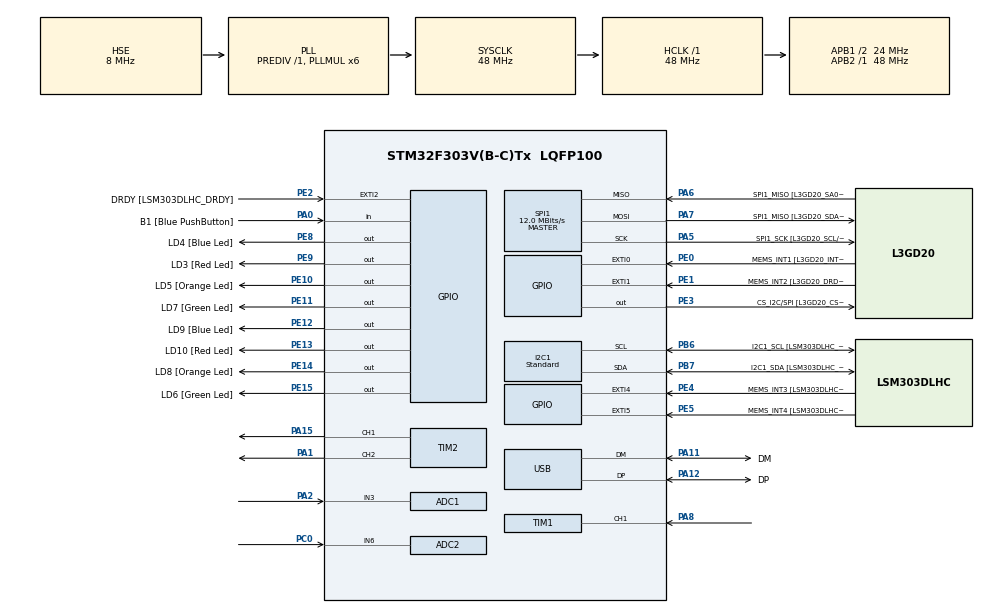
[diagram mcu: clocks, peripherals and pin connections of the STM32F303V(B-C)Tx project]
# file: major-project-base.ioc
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ADC1.Channel-1\#ChannelRegularConversion=ADC_CHANNEL_3
ADC1.NbrOfConversionFlag=1
ADC1.Offset-1\#ChannelRegularConversion=0
ADC1.OffsetNumber-1\#ChannelRegularConversion=ADC_OFFSET_NONE
ADC1.Rank-1\#ChannelRegularConversion=1
ADC1.SamplingTime-1\#ChannelRegularConversion=ADC_SAMPLETIME_1CYCLE_5
ADC1.SamplingTimeOPAMP-1\#ChannelRegularConversion=ADC_SAMPLETIME_19CYCLES_5
ADC1.master=1
ADC2.Channel-4\#ChannelRegularConversion=ADC_CHANNEL_6
ADC2.NbrOfConversionFlag=1
ADC2.Offset-4\#ChannelRegularConversion=0
ADC2.OffsetNumber-4\#ChannelRegularConversion=ADC_OFFSET_NONE
ADC2.Rank-4\#ChannelRegularConversion=1
ADC2.SamplingTime-4\#ChannelRegularConversion=ADC_SAMPLETIME_1CYCLE_5
ADC2.SamplingTimeOPAMP-4\#ChannelRegularConversion=ADC_SAMPLETIME_19CYCLES_5
I2C1.I2C_Speed_Mode=I2C_Standard
I2C1.Speed=100
I2C1.Timing-I2C=0x2000090E
Mcu.Family=STM32F3
Mcu.Name=STM32F303V(B-C)Tx
Mcu.Package=LQFP100
NVIC.PriorityGroup=NVIC_PRIORITYGROUP_0
NVIC.TIM1_CC_IRQn=true\:0\:0\:false\:false\:true\:true\:true\:true
PA0.GPIO_Label=B1 [Blue PushButton]
PA0.Signal=GPIO_Input
PA1.Signal=S_TIM2_CH2
PA11.GPIO_Label=DM
PA11.Mode=Device
PA11.Signal=USB_DM
PA12.GPIO_Label=DP
PA12.Mode=Device
PA12.Signal=USB_DP
PA13.GPIO_Label=SWDIO
PA13.Mode=Serial_Wire
PA13.Signal=SYS_JTMS-SWDIO
PA14.GPIO_Label=SWCLK
PA14.Mode=Serial_Wire
PA14.Signal=SYS_JTCK-SWCLK
PA15.Signal=S_TIM2_CH1_ETR
PA2.Mode=IN3-Single-Ended
PA2.Signal=ADC1_IN3
PA5.GPIO_Label=SPI1_SCK [L3GD20_SCL/SPC]
PA5.Mode=Full_Duplex_Master
PA5.Signal=SPI1_SCK
PA6.GPIO_Label=SPI1_MISO [L3GD20_SA0/SDO]
PA6.Mode=Full_Duplex_Master
PA6.Signal=SPI1_MISO
PA7.GPIO_Label=SPI1_MISO [L3GD20_SDA/SDI/SDO]
PA7.Mode=Full_Duplex_Master
PA7.Signal=SPI1_MOSI
PA8.Signal=S_TIM1_CH1
PB3.GPIO_Label=SWO
PB3.Signal=SYS_JTDO-TRACESWO
PB6.GPIO_Label=I2C1_SCL [LSM303DLHC_SCL]
PB6.GPIO_Pu=GPIO_PULLUP
PB6.Mode=I2C
PB6.Signal=I2C1_SCL
PB7.GPIO_Label=I2C1_SDA [LSM303DLHC_SDA]
PB7.GPIO_Pu=GPIO_PULLUP
PB7.Mode=I2C
PB7.Signal=I2C1_SDA
PC0.Signal=ADCx_IN6
PC14-OSC32_IN.GPIO_Label=OSC32_IN
PC14-OSC32_IN.Signal=RCC_OSC32_IN
PC15-OSC32_OUT.GPIO_Label=OSC32_OUT
PC15-OSC32_OUT.Signal=RCC_OSC32_OUT
PE0.GPIO_Label=MEMS_INT1 [L3GD20_INT1]
PE0.GPIO_ModeDefaultEXTI=GPIO_MODE_EVT_RISING
PE0.Signal=GPXTI0
PE1.GPIO_Label=MEMS_INT2 [L3GD20_DRDY/INT2]
PE1.GPIO_ModeDefaultEXTI=GPIO_MODE_EVT_RISING
PE1.Signal=GPXTI1
PE10.GPIO_Label=LD5 [Orange Led]
PE10.Signal=GPIO_Output
PE11.GPIO_Label=LD7 [Green Led]
PE11.Signal=GPIO_Output
PE12.GPIO_Label=LD9 [Blue Led]
PE12.Signal=GPIO_Output
PE13.GPIO_Label=LD10 [Red Led]
PE13.Signal=GPIO_Output
PE14.GPIO_Label=LD8 [Orange Led]
PE14.Signal=GPIO_Output
PE15.GPIO_Label=LD6 [Green Led]
PE15.Signal=GPIO_Output
PE2.GPIO_Label=DRDY [LSM303DLHC_DRDY]
PE2.GPIO_ModeDefaultEXTI=GPIO_MODE_EVT_RISING
PE2.Signal=GPXTI2
PE3.GPIO_Label=CS_I2C/SPI [L3GD20_CS_I2C/SPI]
PE3.Signal=GPIO_Output
PE4.GPIO_Label=MEMS_INT3 [LSM303DLHC_INT1]
PE4.GPIO_ModeDefaultEXTI=GPIO_MODE_EVT_RISING
PE4.Signal=GPXTI4
PE5.GPIO_Label=MEMS_INT4 [LSM303DLHC_INT2]
PE5.GPIO_ModeDefaultEXTI=GPIO_MODE_EVT_RISING
PE5.Signal=GPXTI5
PE8.GPIO_Label=LD4 [Blue Led]
PE8.Signal=GPIO_Output
PE9.GPIO_Label=LD3 [Red Led]
PE9.Signal=GPIO_Output
PF0-OSC_IN.GPIO_Label=OSC_IN
PF0-OSC_IN.Mode=HSE-External-Clock-Source
PF0-OSC_IN.Signal=RCC_OSC_IN
PF1-OSC_OUT.GPIO_Label=OSC_OUT
PF1-OSC_OUT.Signal=RCC_OSC_OUT
ProjectManager.HeapSize=0x200
ProjectManager.StackSize=0x400
ProjectManager.TargetToolchain=STM32CubeIDE
RCC.AHBFreq_Value=48000000
RCC.APB1CLKDivider=RCC_HCLK_DIV2
RCC.APB1Freq_Value=24000000
RCC.APB1TimFreq_Value=48000000
RCC.APB2Freq_Value=48000000
RCC.APB2TimFreq_Value=48000000
RCC.CortexFreq_Value=48000000
RCC.HCLKFreq_Value=48000000
RCC.HSE_VALUE=8000000
RCC.HSI_VALUE=8000000
RCC.LSE_VALUE=32768
RCC.PLLMUL=RCC_PLL_MUL6
RCC.SYSCLKFreq_VALUE=48000000
RCC.SYSCLKSourceVirtual=RCC_SYSCLKSOURCE_PLLCLK
RCC.USBFreq_Value=48000000
SH.ADCx_IN6.0=ADC2_IN6,IN6-Single-Ended
SH.S_TIM1_CH1.0=TIM1_CH1,Input_Capture1_from_TI1
SH.S_TIM2_CH1_ETR.0=TIM2_CH1,PWM Generation1 CH1
SH.S_TIM2_CH2.0=TIM2_CH2,PWM Generation2 CH2
SPI1.BaudRatePrescaler=SPI_BAUDRATEPRESCALER_4
SPI1.BaudRatePrescaler-Full_Duplex_Master=SPI_BAUDRATEPRESCALER_2
SPI1.CalculateBaudRate=12.0 MBits/s
SPI1.CalculateBaudRate-Full_Duplex_Master=24.0 MBits/s
SPI1.Direction=SPI_DIRECTION_2LINES
SPI1.Mode=SPI_MODE_MASTER
SPI1.Mode-Full_Duplex_Master=SPI_MODE_MASTER
SPI1.VirtualType=VM_MASTER
TIM1.Channel-Input_Capture1_from_TI1=TIM_CHANNEL_1
TIM1.ICPolarity_CH1=TIM_INPUTCHANNELPOLARITY_BOTHEDGE
TIM1.Prescaler=47
TIM2.Channel-PWM\ Generation1\ CH1=TIM_CHANNEL_1
TIM2.Channel-PWM\ Generation2\ CH2=TIM_CHANNEL_2
VP_TIM1_VS_ClockSourceINT.Mode=Internal
board=STM32F3DISCOVERY

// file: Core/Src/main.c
/* USER CODE BEGIN Header */
/**
 ******************************************************************************
 * @file           : main.c
 * @brief          : Main program body
 ******************************************************************************
 * @attention
 *
 * Copyright (c) 2023 STMicroelectronics.
 * All rights reserved.
 *
 * This software is licensed under terms that can be found in the LICENSE file
 * in the root directory of this software component.
 * If no LICENSE file comes with this software, it is provided AS-IS.
 *
 ******************************************************************************
 */
/* USER CODE END Header */
#include "main.h"

/* USER CODE BEGIN Includes */

#include "ptu_definitions.h"
#include "ptu_i2c.h"
#include "joystick_map.h"
#include "initialisation.h"
#include "timer.h"
#include "serial.h"
#include "stm32f303xc.h"
#include "math.h"

#include <stdint.h>
#include <stdbool.h>
#include <string.h>

/* USER CODE END Includes */

ADC_HandleTypeDef hadc1;
ADC_HandleTypeDef hadc2;

I2C_HandleTypeDef hi2c1;

SPI_HandleTypeDef hspi1;

TIM_HandleTypeDef htim1;
TIM_HandleTypeDef htim2;

PCD_HandleTypeDef hpcd_USB_FS;

void SystemClock_Config(void);
static void MX_GPIO_Init(void);
static void MX_I2C1_Init(void);
static void MX_SPI1_Init(void);
static void MX_USB_PCD_Init(void);
static void MX_TIM2_Init(void);
static void MX_TIM1_Init(void);
static void MX_ADC1_Init(void);
static void MX_ADC2_Init(void);

/* USER CODE BEGIN 0 */

#define USART_ICR_RXNECF_Pos        5
#define USART_ICR_RXNECF_Msk        (0x01U << USART_ICR_RXNECF_Pos)
#define BUFFER 256

int lidar_values[6] = {0, 0, 0, 0, 0, 0};
int lidar_global = 0;
int timer_count = 0;
int hit_waypoint = 0;

int WAYPOINT_DISTANCE = 300;

int TARGET_ONE_LOWER_X = 500;
int TARGET_ONE_UPPER_X = 800;
int TARGET_ONE_LOWER_Y = 1600;
int TARGET_ONE_UPPER_Y = 1800;

int TARGET_TWO_LOWER_X = 1500;
int TARGET_TWO_UPPER_X = 1700;
int TARGET_TWO_LOWER_Y = 1550;
int TARGET_TWO_UPPER_Y = 1750;

int TARGET_THREE_LOWER_X = 0;
int TARGET_THREE_UPPER_X = 250;
int TARGET_THREE_LOWER_Y = 2900;
int TARGET_THREE_UPPER_Y = 3100;

int TARGET_FOUR_LOWER_X = 1550;
int TARGET_FOUR_UPPER_X = 1750;
int TARGET_FOUR_LOWER_Y = 950;
int TARGET_FOUR_UPPER_Y = 1250;

int TARGET_FIVE_LOWER_X = 2300;
int TARGET_FIVE_UPPER_X = 2500;
int TARGET_FIVE_LOWER_Y = 1650;
int TARGET_FIVE_UPPER_Y = 1850;

int TARGET_SIX_LOWER_X = 1000;
int TARGET_SIX_UPPER_X = 1200;
int TARGET_SIX_LOWER_Y = 1300;
int TARGET_SIX_UPPER_Y = 1500;

int SERVO_CLOCK_PERIOD = 20000;
int SERVO_MAX_UPPER = 3000;
int SERVO_MAX_LOWER = 2000;
int SERVO_MAX_MIDDLE = 2055;

int target_count = 0;
int x_position = 1500;
int y_position = 1500;

void TIM3_IRQHandler(void)
{
	// UIF is from an overflow type event
	if ((TIM3->SR & TIM_SR_UIF) != 0){
		TIM3->SR &= ~TIM_SR_UIF;
	}

	// CC1IF is from a successful output compare
	if ((TIM3->SR & TIM_SR_CC1IF) != 0){
		TIM3->SR &= ~TIM_SR_CC1IF;
	}
	timer_count++;

	int index = timer_count % 6;

	lidar_values[index] = lidar_global;
}

void sendString(const char *str)
{
    while (*str)
    {
        // Wait until transmit data register is empty
        while (!(USART1->ISR & USART_ISR_TXE_Msk));
        // Send a single character
        USART1->TDR = *str++;
    }
}

typedef union {
	uint8_t all_leds;
	struct {
		uint8_t led_pair_1 : 2;
		uint8_t led_pair_2 : 2;
		uint8_t led_set_of_4 : 4;
	} led_groups;
} LedRegister;

uint16_t last_capture = 0;
uint16_t diff = 0;

uint16_t rise_time = 0;
uint16_t last_period = 0;

void HAL_TIM_IC_CaptureCallback(TIM_HandleTypeDef *htim)
{
	uint8_t buffer[32];
	if (htim->Instance == TIM1 && htim->Channel == HAL_TIM_ACTIVE_CHANNEL_1)
	{
		uint16_t IC_Val1 = HAL_TIM_ReadCapturedValue(htim, TIM_CHANNEL_1); // read the first value

		if (HAL_GPIO_ReadPin(GPIOA, GPIO_PIN_8) == 1)
			rise_time = IC_Val1;
		else
			last_period = IC_Val1 - rise_time;

		diff = IC_Val1 - last_capture;
		last_capture = IC_Val1;
	}
}

/* USER CODE END 0 */

int main(void)
{
  /* USER CODE BEGIN 1 */

	uint8_t string_to_send[256];

	enable_clocks();
	initialise_board();
	enableUSART1();

	LedRegister *led_register = ((uint8_t*)&(GPIOE->ODR)) + 1;

	SerialInitialise(BAUD_115200, &USART1_PORT, 0x00);

	HAL_StatusTypeDef return_value = 0x00;

  /* USER CODE END 1 */

  /* MCU Configuration--------------------------------------------------------*/

  /* Reset of all peripherals, Initializes the Flash interface and the Systick. */
  HAL_Init();

  /* Configure the system clock */
  SystemClock_Config();

  /* Initialize all configured peripherals */
  MX_GPIO_Init();
  MX_I2C1_Init();
  MX_SPI1_Init();
  MX_USB_PCD_Init();
  MX_TIM2_Init();
  MX_TIM1_Init();
  MX_ADC1_Init();
  MX_ADC2_Init();
  /* USER CODE BEGIN 2 */

	HAL_TIM_PWM_Start(&htim2, TIM_CHANNEL_1);
	HAL_TIM_PWM_Start(&htim2, TIM_CHANNEL_2);
	HAL_TIM_IC_Start_IT(&htim1, TIM_CHANNEL_1);

	TIM2->ARR = SERVO_CLOCK_PERIOD; // 20000 = 20ms, which is the desired clock period for servos
	TIM2->CR1 |= TIM_CR1_ARPE; // this makes the timing not change until the next pulse is finished

	initialise_ptu_i2c(&hi2c1);

  /* USER CODE END 2 */

  /* Infinite loop */
  /* USER CODE BEGIN WHILE */

	// Setup timer with interrupts for LIDAR moving average
	__disable_irq();
	initialise_timer();
	__enable_irq();

	// Reset lidar board
	uint8_t reset_value = 0x00;
	return_value = HAL_I2C_Mem_Write(&hi2c1, LIDAR_WR, 0x00, 1, &reset_value, 1, 10);

	// Delay for initialisation of the lidar
	HAL_Delay(100);

	sprintf(string_to_send, "\r\n\n\n\n\nYou are a student enrolled at USYD in the best engineering stream. Six core subjects, six LIDAR waypoints, six numbers to complete the pattern.\r\n\n");
	SerialOutputString(string_to_send, &USART1_PORT);

	while (1)
	{
		// Read Joystick Data
		HAL_ADC_Start(&hadc1); 						// start the adc
		HAL_ADC_PollForConversion(&hadc1, 100); 	// poll for conversion
		int adc_val_x = HAL_ADC_GetValue(&hadc1);   // get the adc value
		HAL_ADC_Stop(&hadc1); 						// stop adc

		HAL_ADC_Start(&hadc2); 						// start the adc
		HAL_ADC_PollForConversion(&hadc2, 100); 	// poll for conversion
		int adc_val_y = HAL_ADC_GetValue(&hadc2);   // get the adc value
		HAL_ADC_Stop(&hadc2); 						// stop adc

		HAL_Delay(20); 								// wait for 20ms

        // Remove noise with no input
		if (adc_val_x <= SERVO_MAX_UPPER && adc_val_x >= SERVO_MAX_LOWER) {
			adc_val_x = SERVO_MAX_MIDDLE;
		}

		if (adc_val_y <= SERVO_MAX_UPPER && adc_val_y >= SERVO_MAX_LOWER) {
			adc_val_y = SERVO_MAX_MIDDLE;
		}

		// Update positions of the servos from the joystick
		x_position = updateValues(adc_val_x, x_position);
		y_position = updateValues(adc_val_y, y_position);

		TIM2->CCR1 = y_position;
		TIM2->CCR2 = x_position;

		uint8_t lidar_value = 0x03;
		return_value = HAL_I2C_Mem_Write(&hi2c1, LIDAR_WR, 0x00, 1, &lidar_value, 1, 100);

		lidar_value = 0xff;

		uint8_t lidar_MSBa = 0x00;
		uint8_t lidar_LSBa = 0x00;

		volatile uint16_t lidar_distance = 0xff;

		uint16_t timeout;

		while ((lidar_value & 0x01) != 0x00) {
			return_value = HAL_I2C_Mem_Read(&hi2c1, LIDAR_RD, 0x01, 1, &lidar_value, 1, 100);
			return_value = HAL_I2C_Mem_Read(&hi2c1, LIDAR_RD, 0x0f, 1, &lidar_MSBa, 1, 100);
			return_value = HAL_I2C_Mem_Read(&hi2c1, LIDAR_RD, 0x10, 1, &lidar_LSBa, 1, 100);

			lidar_distance = ((lidar_MSBa << 8) | lidar_LSBa);
			timeout += 1;
			if (timeout > 0xff)
				break;
		}

		if (last_period > 4000)
			last_period = 5000;
		if (lidar_distance > 4000)
			lidar_distance = 5500;

		lidar_global = lidar_distance * 10;

		// Determine LIDAR distance with moving average
		int lidar_average = (lidar_values[0] + lidar_values[1] + lidar_values[2] + lidar_values[3] + lidar_values[4] + lidar_values[5])/6;

		if (lidar_global > WAYPOINT_DISTANCE) {
			led_register->led_groups.led_pair_1 = 0b00;
			led_register->led_groups.led_pair_2 = 0b00;
			led_register->led_groups.led_set_of_4 = 0b1000;
		}

		if (lidar_global <= WAYPOINT_DISTANCE && lidar_global >= 0) {
			hit_waypoint = 1;
			led_register->led_groups.led_pair_1 = 0b11;
			led_register->led_groups.led_pair_2 = 0b11;
			led_register->led_groups.led_set_of_4 = 0b0111;
		}

		// Way Point targeting and game sequence!

		if (x_position > TARGET_ONE_LOWER_X && x_position < TARGET_ONE_UPPER_X
				&& y_position > TARGET_ONE_LOWER_Y && y_position < TARGET_ONE_UPPER_Y
				&& target_count == 0 ){
			if (hit_waypoint == 1) {
				sprintf(string_to_send, "TARGET #1 ACQUIRED! Pattern #1: 1109\r\n");
				target_count = 1;
				SerialOutputString(string_to_send, &USART1_PORT);
			}
		}

		else if (x_position > TARGET_TWO_LOWER_X && x_position < TARGET_TWO_UPPER_X
				&& y_position > TARGET_TWO_LOWER_Y && y_position < TARGET_TWO_UPPER_Y
				&& target_count == 1 ){
			if (hit_waypoint == 1) {
				sprintf(string_to_send, "TARGET #2 ACQUIRED! Pattern #2: 0109\r\n");
				target_count = 2;
				SerialOutputString(string_to_send, &USART1_PORT);
			}
		}

		else if (x_position > TARGET_THREE_LOWER_X && x_position < TARGET_THREE_UPPER_X
				&& y_position > TARGET_THREE_LOWER_Y && y_position < TARGET_THREE_UPPER_Y
				&& target_count == 2 ){
			if (hit_waypoint == 1) {
				sprintf(string_to_send, "TARGET #3 ACQUIRED! Pattern #3: 6009\r\n");
				target_count = 3;
				SerialOutputString(string_to_send, &USART1_PORT);
			}
		}

		else if (x_position > TARGET_FOUR_LOWER_X && x_position < TARGET_FOUR_UPPER_X
				&& y_position > TARGET_FOUR_LOWER_Y && y_position < TARGET_FOUR_UPPER_Y
				&& target_count == 3 ){
			if (hit_waypoint == 1) {
				sprintf(string_to_send, "TARGET #4 ACQUIRED! Pattern #4: 8006\r\n");
				target_count = 4;
				SerialOutputString(string_to_send, &USART1_PORT);
			}
		}

		else if (x_position > TARGET_FIVE_LOWER_X && x_position < TARGET_FIVE_UPPER_X
				&& y_position > TARGET_FIVE_LOWER_Y && y_position < TARGET_FIVE_UPPER_Y
				&& target_count == 4 ){
			if (hit_waypoint == 1) {
				sprintf(string_to_send, "TARGET #5 ACQUIRED! Pattern #5: ????\r\n");
				target_count = 5;
				SerialOutputString(string_to_send, &USART1_PORT);
			}
		}

		else if (x_position > TARGET_SIX_LOWER_X && x_position < TARGET_SIX_UPPER_X
				&& y_position > TARGET_SIX_LOWER_Y && y_position < TARGET_SIX_UPPER_Y
				&& target_count == 5 ){
			if (hit_waypoint == 1) {
				sprintf(string_to_send, "TARGET #6 ACQUIRED! Pattern #6: 6006\r\n\n");
				SerialOutputString(string_to_send, &USART1_PORT);
				sprintf(string_to_send, "The pattern to unlock Stewart's magic orange box is:\r\n\n");
				SerialOutputString(string_to_send, &USART1_PORT);
				sprintf(string_to_send, "1109, 0109, 6009, 8009, _______, 9009\r\n\n");
				SerialOutputString(string_to_send, &USART1_PORT);
				sprintf(string_to_send, "What is the missing number?\r\n\n");
				SerialOutputString(string_to_send, &USART1_PORT);
				target_count = 6;
			}
		}

//		else {
//			// Do nothing
//		}

		else {
			sprintf(string_to_send, "Timer: %hu, Lidar I2C: %hu,  x-pos: %hu, y-pos: %hu, average: %hu, counter: %hu\r\n", timer_count, lidar_global, x_position, y_position, lidar_average, target_count);
//			sprintf(string_to_send, "%hu, %hu, %hu, %hu, %hu, %hu, %hu\r\n", lidar_values[0], lidar_values[1], lidar_values[2], lidar_values[3], lidar_values[4], lidar_values[5], lidar_average);
			SerialOutputString(string_to_send, &USART1_PORT);
			// Do nothing
		}

    /* USER CODE END WHILE */

	}
}

void SystemClock_Config(void)
{
  RCC_OscInitTypeDef RCC_OscInitStruct = {0};
  RCC_ClkInitTypeDef RCC_ClkInitStruct = {0};
  RCC_PeriphCLKInitTypeDef PeriphClkInit = {0};

  /** Initializes the RCC Oscillators according to the specified parameters
  * in the RCC_OscInitTypeDef structure.
  */
  RCC_OscInitStruct.OscillatorType = RCC_OSCILLATORTYPE_HSI|RCC_OSCILLATORTYPE_HSE;
  RCC_OscInitStruct.HSEState = RCC_HSE_BYPASS;
  RCC_OscInitStruct.HSEPredivValue = RCC_HSE_PREDIV_DIV1;
  RCC_OscInitStruct.HSIState = RCC_HSI_ON;
  RCC_OscInitStruct.HSICalibrationValue = RCC_HSICALIBRATION_DEFAULT;
  RCC_OscInitStruct.PLL.PLLState = RCC_PLL_ON;
  RCC_OscInitStruct.PLL.PLLSource = RCC_PLLSOURCE_HSE;
  RCC_OscInitStruct.PLL.PLLMUL = RCC_PLL_MUL6;
  if (HAL_RCC_OscConfig(&RCC_OscInitStruct) != HAL_OK)
  {
    Error_Handler();
  }

  /** Initializes the CPU, AHB and APB buses clocks
  */
  RCC_ClkInitStruct.ClockType = RCC_CLOCKTYPE_HCLK|RCC_CLOCKTYPE_SYSCLK
                              |RCC_CLOCKTYPE_PCLK1|RCC_CLOCKTYPE_PCLK2;
  RCC_ClkInitStruct.SYSCLKSource = RCC_SYSCLKSOURCE_PLLCLK;
  RCC_ClkInitStruct.AHBCLKDivider = RCC_SYSCLK_DIV1;
  RCC_ClkInitStruct.APB1CLKDivider = RCC_HCLK_DIV2;
  RCC_ClkInitStruct.APB2CLKDivider = RCC_HCLK_DIV1;

  if (HAL_RCC_ClockConfig(&RCC_ClkInitStruct, FLASH_LATENCY_1) != HAL_OK)
  {
    Error_Handler();
  }
  PeriphClkInit.PeriphClockSelection = RCC_PERIPHCLK_USB|RCC_PERIPHCLK_I2C1
                              |RCC_PERIPHCLK_TIM1|RCC_PERIPHCLK_ADC12;
  PeriphClkInit.Adc12ClockSelection = RCC_ADC12PLLCLK_DIV1;
  PeriphClkInit.I2c1ClockSelection = RCC_I2C1CLKSOURCE_HSI;
  PeriphClkInit.USBClockSelection = RCC_USBCLKSOURCE_PLL;
  PeriphClkInit.Tim1ClockSelection = RCC_TIM1CLK_HCLK;
  if (HAL_RCCEx_PeriphCLKConfig(&PeriphClkInit) != HAL_OK)
  {
    Error_Handler();
  }
}

static void MX_ADC1_Init(void)
{

  ADC_MultiModeTypeDef multimode = {0};
  ADC_ChannelConfTypeDef sConfig = {0};

  /** Common config
  */
  hadc1.Instance = ADC1;
  hadc1.Init.ClockPrescaler = ADC_CLOCK_ASYNC_DIV1;
  hadc1.Init.Resolution = ADC_RESOLUTION_12B;
  hadc1.Init.ScanConvMode = ADC_SCAN_DISABLE;
  hadc1.Init.ContinuousConvMode = DISABLE;
  hadc1.Init.DiscontinuousConvMode = DISABLE;
  hadc1.Init.ExternalTrigConvEdge = ADC_EXTERNALTRIGCONVEDGE_NONE;
  hadc1.Init.ExternalTrigConv = ADC_SOFTWARE_START;
  hadc1.Init.DataAlign = ADC_DATAALIGN_RIGHT;
  hadc1.Init.NbrOfConversion = 1;
  hadc1.Init.DMAContinuousRequests = DISABLE;
  hadc1.Init.EOCSelection = ADC_EOC_SINGLE_CONV;
  hadc1.Init.LowPowerAutoWait = DISABLE;
  hadc1.Init.Overrun = ADC_OVR_DATA_OVERWRITTEN;
  if (HAL_ADC_Init(&hadc1) != HAL_OK)
  {
    Error_Handler();
  }

  /** Configure the ADC multi-mode
  */
  multimode.Mode = ADC_MODE_INDEPENDENT;
  if (HAL_ADCEx_MultiModeConfigChannel(&hadc1, &multimode) != HAL_OK)
  {
    Error_Handler();
  }

  /** Configure Regular Channel
  */
  sConfig.Channel = ADC_CHANNEL_3;
  sConfig.Rank = ADC_REGULAR_RANK_1;
  sConfig.SingleDiff = ADC_SINGLE_ENDED;
  sConfig.SamplingTime = ADC_SAMPLETIME_1CYCLE_5;
  sConfig.OffsetNumber = ADC_OFFSET_NONE;
  sConfig.Offset = 0;
  if (HAL_ADC_ConfigChannel(&hadc1, &sConfig) != HAL_OK)
  {
    Error_Handler();
  }

}

static void MX_ADC2_Init(void)
{

  ADC_ChannelConfTypeDef sConfig = {0};

  /** Common config
  */
  hadc2.Instance = ADC2;
  hadc2.Init.ClockPrescaler = ADC_CLOCK_ASYNC_DIV1;
  hadc2.Init.Resolution = ADC_RESOLUTION_12B;
  hadc2.Init.ScanConvMode = ADC_SCAN_DISABLE;
  hadc2.Init.ContinuousConvMode = DISABLE;
  hadc2.Init.DiscontinuousConvMode = DISABLE;
  hadc2.Init.ExternalTrigConvEdge = ADC_EXTERNALTRIGCONVEDGE_NONE;
  hadc2.Init.ExternalTrigConv = ADC_SOFTWARE_START;
  hadc2.Init.DataAlign = ADC_DATAALIGN_RIGHT;
  hadc2.Init.NbrOfConversion = 1;
  hadc2.Init.DMAContinuousRequests = DISABLE;
  hadc2.Init.EOCSelection = ADC_EOC_SINGLE_CONV;
  hadc2.Init.LowPowerAutoWait = DISABLE;
  hadc2.Init.Overrun = ADC_OVR_DATA_OVERWRITTEN;
  if (HAL_ADC_Init(&hadc2) != HAL_OK)
  {
    Error_Handler();
  }

  /** Configure Regular Channel
  */
  sConfig.Channel = ADC_CHANNEL_6;
  sConfig.Rank = ADC_REGULAR_RANK_1;
  sConfig.SingleDiff = ADC_SINGLE_ENDED;
  sConfig.SamplingTime = ADC_SAMPLETIME_1CYCLE_5;
  sConfig.OffsetNumber = ADC_OFFSET_NONE;
  sConfig.Offset = 0;
  if (HAL_ADC_ConfigChannel(&hadc2, &sConfig) != HAL_OK)
  {
    Error_Handler();
  }

}

static void MX_I2C1_Init(void)
{

  hi2c1.Instance = I2C1;
  hi2c1.Init.Timing = 0x2000090E;
  hi2c1.Init.OwnAddress1 = 0;
  hi2c1.Init.AddressingMode = I2C_ADDRESSINGMODE_7BIT;
  hi2c1.Init.DualAddressMode = I2C_DUALADDRESS_DISABLE;
  hi2c1.Init.OwnAddress2 = 0;
  hi2c1.Init.OwnAddress2Masks = I2C_OA2_NOMASK;
  hi2c1.Init.GeneralCallMode = I2C_GENERALCALL_DISABLE;
  hi2c1.Init.NoStretchMode = I2C_NOSTRETCH_DISABLE;
  if (HAL_I2C_Init(&hi2c1) != HAL_OK)
  {
    Error_Handler();
  }

  /** Configure Analogue filter
  */
  if (HAL_I2CEx_ConfigAnalogFilter(&hi2c1, I2C_ANALOGFILTER_ENABLE) != HAL_OK)
  {
    Error_Handler();
  }

  /** Configure Digital filter
  */
  if (HAL_I2CEx_ConfigDigitalFilter(&hi2c1, 0) != HAL_OK)
  {
    Error_Handler();
  }

}

static void MX_SPI1_Init(void)
{

  /* SPI1 parameter configuration*/
  hspi1.Instance = SPI1;
  hspi1.Init.Mode = SPI_MODE_MASTER;
  hspi1.Init.Direction = SPI_DIRECTION_2LINES;
  hspi1.Init.DataSize = SPI_DATASIZE_4BIT;
  hspi1.Init.CLKPolarity = SPI_POLARITY_LOW;
  hspi1.Init.CLKPhase = SPI_PHASE_1EDGE;
  hspi1.Init.NSS = SPI_NSS_SOFT;
  hspi1.Init.BaudRatePrescaler = SPI_BAUDRATEPRESCALER_4;
  hspi1.Init.FirstBit = SPI_FIRSTBIT_MSB;
  hspi1.Init.TIMode = SPI_TIMODE_DISABLE;
  hspi1.Init.CRCCalculation = SPI_CRCCALCULATION_DISABLE;
  hspi1.Init.CRCPolynomial = 7;
  hspi1.Init.CRCLength = SPI_CRC_LENGTH_DATASIZE;
  hspi1.Init.NSSPMode = SPI_NSS_PULSE_ENABLE;
  if (HAL_SPI_Init(&hspi1) != HAL_OK)
  {
    Error_Handler();
  }

}

static void MX_TIM1_Init(void)
{

  TIM_ClockConfigTypeDef sClockSourceConfig = {0};
  TIM_MasterConfigTypeDef sMasterConfig = {0};
  TIM_IC_InitTypeDef sConfigIC = {0};

  htim1.Instance = TIM1;
  htim1.Init.Prescaler = 47;
  htim1.Init.CounterMode = TIM_COUNTERMODE_UP;
  htim1.Init.Period = 65535;
  htim1.Init.ClockDivision = TIM_CLOCKDIVISION_DIV1;
  htim1.Init.RepetitionCounter = 0;
  htim1.Init.AutoReloadPreload = TIM_AUTORELOAD_PRELOAD_DISABLE;
  if (HAL_TIM_Base_Init(&htim1) != HAL_OK)
  {
    Error_Handler();
  }
  sClockSourceConfig.ClockSource = TIM_CLOCKSOURCE_INTERNAL;
  if (HAL_TIM_ConfigClockSource(&htim1, &sClockSourceConfig) != HAL_OK)
  {
    Error_Handler();
  }
  if (HAL_TIM_IC_Init(&htim1) != HAL_OK)
  {
    Error_Handler();
  }
  sMasterConfig.MasterOutputTrigger = TIM_TRGO_RESET;
  sMasterConfig.MasterOutputTrigger2 = TIM_TRGO2_RESET;
  sMasterConfig.MasterSlaveMode = TIM_MASTERSLAVEMODE_DISABLE;
  if (HAL_TIMEx_MasterConfigSynchronization(&htim1, &sMasterConfig) != HAL_OK)
  {
    Error_Handler();
  }
  sConfigIC.ICPolarity = TIM_INPUTCHANNELPOLARITY_BOTHEDGE;
  sConfigIC.ICSelection = TIM_ICSELECTION_DIRECTTI;
  sConfigIC.ICPrescaler = TIM_ICPSC_DIV1;
  sConfigIC.ICFilter = 0;
  if (HAL_TIM_IC_ConfigChannel(&htim1, &sConfigIC, TIM_CHANNEL_1) != HAL_OK)
  {
    Error_Handler();
  }

}

static void MX_TIM2_Init(void)
{

  TIM_MasterConfigTypeDef sMasterConfig = {0};
  TIM_OC_InitTypeDef sConfigOC = {0};

  htim2.Instance = TIM2;
  htim2.Init.Prescaler = 47;
  htim2.Init.CounterMode = TIM_COUNTERMODE_UP;
  htim2.Init.Period = 20000;
  htim2.Init.ClockDivision = TIM_CLOCKDIVISION_DIV1;
  htim2.Init.AutoReloadPreload = TIM_AUTORELOAD_PRELOAD_ENABLE;
  if (HAL_TIM_PWM_Init(&htim2) != HAL_OK)
  {
    Error_Handler();
  }
  sMasterConfig.MasterOutputTrigger = TIM_TRGO_RESET;
  sMasterConfig.MasterSlaveMode = TIM_MASTERSLAVEMODE_DISABLE;
  if (HAL_TIMEx_MasterConfigSynchronization(&htim2, &sMasterConfig) != HAL_OK)
  {
    Error_Handler();
  }
  sConfigOC.OCMode = TIM_OCMODE_PWM1;
  sConfigOC.Pulse = 2000;
  sConfigOC.OCPolarity = TIM_OCPOLARITY_HIGH;
  sConfigOC.OCFastMode = TIM_OCFAST_DISABLE;
  if (HAL_TIM_PWM_ConfigChannel(&htim2, &sConfigOC, TIM_CHANNEL_1) != HAL_OK)
  {
    Error_Handler();
  }
  if (HAL_TIM_PWM_ConfigChannel(&htim2, &sConfigOC, TIM_CHANNEL_2) != HAL_OK)
  {
    Error_Handler();
  }
  HAL_TIM_MspPostInit(&htim2);

}

static void MX_USB_PCD_Init(void)
{

  hpcd_USB_FS.Instance = USB;
  hpcd_USB_FS.Init.dev_endpoints = 8;
  hpcd_USB_FS.Init.speed = PCD_SPEED_FULL;
  hpcd_USB_FS.Init.phy_itface = PCD_PHY_EMBEDDED;
  hpcd_USB_FS.Init.low_power_enable = DISABLE;
  hpcd_USB_FS.Init.battery_charging_enable = DISABLE;
  if (HAL_PCD_Init(&hpcd_USB_FS) != HAL_OK)
  {
    Error_Handler();
  }

}

static void MX_GPIO_Init(void)
{
  GPIO_InitTypeDef GPIO_InitStruct = {0};

  /* GPIO Ports Clock Enable */
  __HAL_RCC_GPIOE_CLK_ENABLE();
  __HAL_RCC_GPIOC_CLK_ENABLE();
  __HAL_RCC_GPIOF_CLK_ENABLE();
  __HAL_RCC_GPIOA_CLK_ENABLE();
  __HAL_RCC_GPIOB_CLK_ENABLE();

  /*Configure GPIO pin Output Level */
  HAL_GPIO_WritePin(GPIOE, CS_I2C_SPI_Pin|LD4_Pin|LD3_Pin|LD5_Pin
                          |LD7_Pin|LD9_Pin|LD10_Pin|LD8_Pin
                          |LD6_Pin, GPIO_PIN_RESET);

  /*Configure GPIO pins : DRDY_Pin MEMS_INT3_Pin MEMS_INT4_Pin MEMS_INT1_Pin
                           MEMS_INT2_Pin */
  GPIO_InitStruct.Pin = DRDY_Pin|MEMS_INT3_Pin|MEMS_INT4_Pin|MEMS_INT1_Pin
                          |MEMS_INT2_Pin;
  GPIO_InitStruct.Mode = GPIO_MODE_EVT_RISING;
  GPIO_InitStruct.Pull = GPIO_NOPULL;
  HAL_GPIO_Init(GPIOE, &GPIO_InitStruct);

  /*Configure GPIO pins : CS_I2C_SPI_Pin LD4_Pin LD3_Pin LD5_Pin
                           LD7_Pin LD9_Pin LD10_Pin LD8_Pin
                           LD6_Pin */
  GPIO_InitStruct.Pin = CS_I2C_SPI_Pin|LD4_Pin|LD3_Pin|LD5_Pin
                          |LD7_Pin|LD9_Pin|LD10_Pin|LD8_Pin
                          |LD6_Pin;
  GPIO_InitStruct.Mode = GPIO_MODE_OUTPUT_PP;
  GPIO_InitStruct.Pull = GPIO_NOPULL;
  GPIO_InitStruct.Speed = GPIO_SPEED_FREQ_LOW;
  HAL_GPIO_Init(GPIOE, &GPIO_InitStruct);

  /*Configure GPIO pin : B1_Pin */
  GPIO_InitStruct.Pin = B1_Pin;
  GPIO_InitStruct.Mode = GPIO_MODE_INPUT;
  GPIO_InitStruct.Pull = GPIO_NOPULL;
  HAL_GPIO_Init(B1_GPIO_Port, &GPIO_InitStruct);

}

void Error_Handler(void)
{
	__disable_irq();
	while (1)
	{
	}
}
